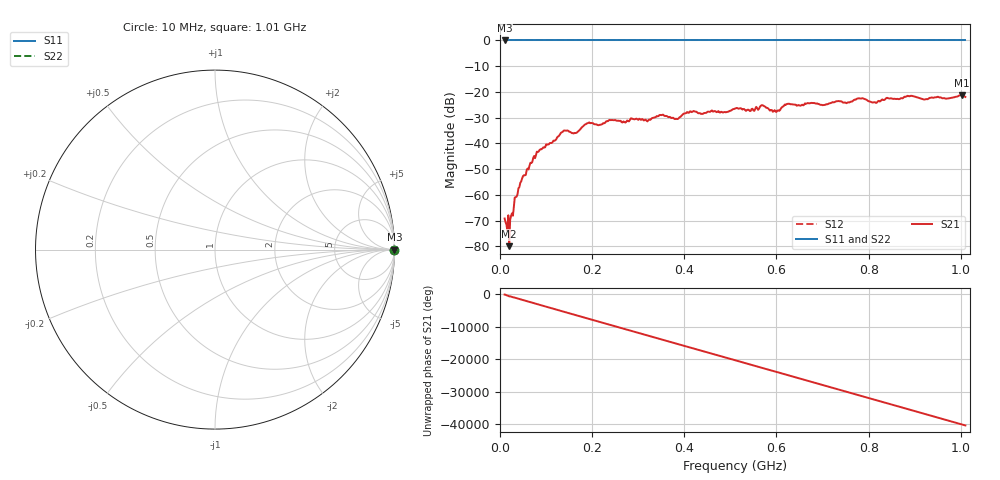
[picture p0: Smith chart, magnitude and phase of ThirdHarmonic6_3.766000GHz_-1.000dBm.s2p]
! 8/17/2025 12:57:08 PM
! C:\ANRITSUVNA\TEMP\TEMP.S2P
! CHANNEL.1
! TR.MEASUREMENT
! RAW.DATA
! RF.CORRECTION.OFF
! AVERAGING.OFF
! IF.BANDWIDTH: 5KHZ
! SWEEPTYPE:  FREQ.SWEEP(Linear)
! Reference Plane Port Info
! PORT:  PORT1  PORT2
! DISTANCE:  0  m  0  m
! TIME:  0  s  0  s
! PHASE.OFFSET:  0  deg.  0  deg.
! LOSS:  0  dB  0  dB
! REF.LOSS:  0  dB  0  dB
! REF.FREQ:  0  Hz  0  Hz
! Power Info
! POWER:  -20  dBm  -20  dBm
! EFF.POWER:  -20  dBm  -20  dBm
! SOURCE.ATTEN:  0  dB  0  dB
! TEST.ATTEN:  0  dB  0  dB
# GHZ S RI R 50.0
! FREQ.GHZ  S11RE  S11IM  S21RE  S21IM  S12RE  S12IM  S22RE  S22IM
!; PortSelection: Port_12
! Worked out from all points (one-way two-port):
!   501 points, 10 MHz to 1.01 GHz, reference 50 ohm
!   highest |S21| = -21.26 dB at 1.002 GHz (marker M1); lowest = -80.0 dB at 20 MHz (marker M2)
!   lowest |S11| = 0.0 dB at 10 MHz (marker M3)
!   |S11| at or under -10 dB: nowhere
!   |S22| runs from 0.0 to 0.0 dB; largest |S21 - S12| = 1.1
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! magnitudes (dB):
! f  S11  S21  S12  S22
! 10 MHz  0.0  -69.2  0.0  0.0
! 16 MHz  0.0  -74.0  0.0  0.0
! 20 MHz  0.0  -80.0  0.0  0.0
! 24 MHz  0.0  -68.2  0.0  0.0
! 36 MHz  0.0  -60.7  0.0  0.0
! 48 MHz  0.0  -53.6  0.0  0.0
! 82 MHz  0.0  -43.3  0.0  0.0
! 136 MHz  0.0  -35.5  0.0  0.0
! 162 MHz  0.0  -35.9  0.0  0.0
! 178 MHz  0.0  -33.7  0.0  0.0
! 344 MHz  0.0  -29.4  0.0  0.0
! 382 MHz  0.0  -30.4  0.0  0.0
! 416 MHz  0.0  -27.8  0.0  0.0
! 510 MHz  0.0  -26.5  0.0  0.0
! 570 MHz  0.0  -25.2  0.0  0.0
! 596 MHz  0.0  -27.1  0.0  0.0
! 622 MHz  0.0  -24.7  0.0  0.0
! 678 MHz  0.0  -24.3  0.0  0.0
! 814 MHz  0.0  -24.0  0.0  0.0
! 844 MHz  0.0  -22.5  0.0  0.0
! 1.002 GHz  0.0  -21.3  0.0  0.0
! 1.01 GHz  0.0  -21.9  0.0  0.0
